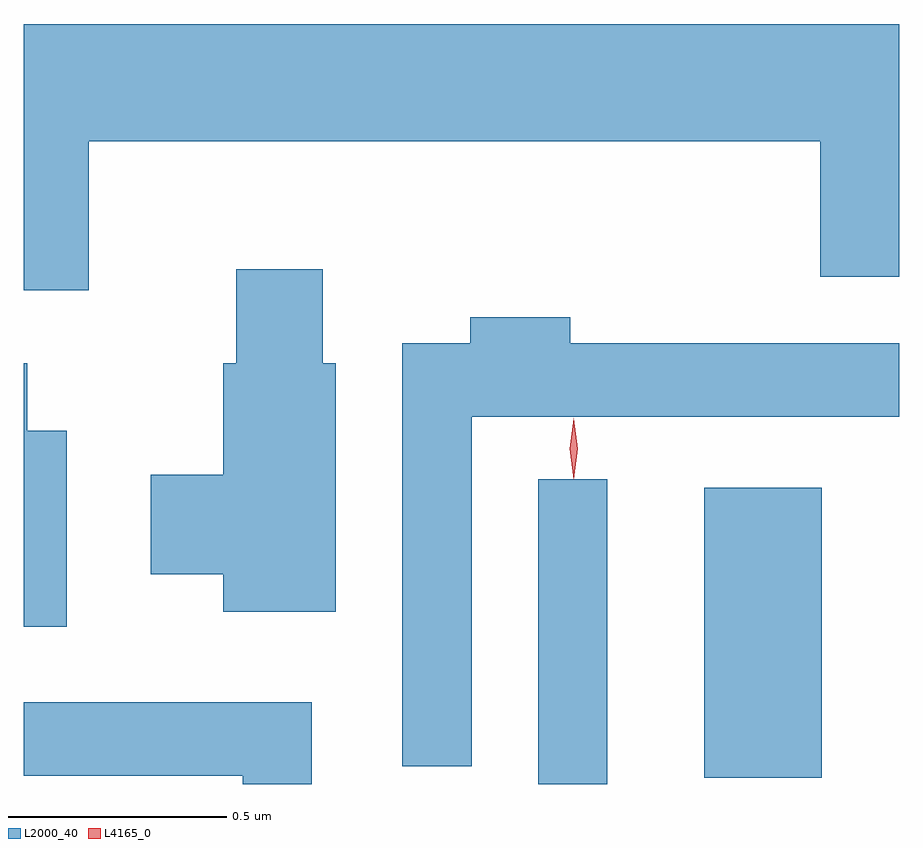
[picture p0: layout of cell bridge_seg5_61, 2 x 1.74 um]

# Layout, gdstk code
import gdstk
lib = gdstk.Library(unit=1e-6, precision=1e-09)
def R(c, l, rs):  # rectangles x0, y0, x1, y1
    for r in rs: c.add(gdstk.rectangle(r[:2], r[2:], *l))
def P(c, l, *ps):  # polygons
    for p in ps: c.add(gdstk.Polygon(p, *l))
L2000_40 = (2000, 40)
L4165_0 = (4165, 0)

bridge_seg5_61 = lib.new_cell('bridge_seg5_61')
R(bridge_seg5_61, L2000_40, [(1319.326,1466.427,1319.484,1467.123), (1319.706,1466.441,1319.974,1467.104)])
P(bridge_seg5_61, L2000_40, [(1318.299,1467.896),(1319.971,1467.896),(1319.971,1467.586),(1320.151,1467.586),(1320.151,1468.164),(1318.151,1468.164),(1318.151,1467.556),(1318.299,1467.556)],
  [(1318.864,1467.389),(1318.834,1467.389),(1318.834,1467.604),(1318.636,1467.604),(1318.636,1467.389),(1318.606,1467.389),(1318.606,1467.134),(1318.441,1467.134),(1318.441,1466.906),(1318.606,1466.906),(1318.606,1466.821),(1318.864,1466.821)],
  [(1319.174,1467.266),(1320.151,1467.266),(1320.151,1467.434),(1319.399,1467.434),(1319.399,1467.494),(1319.171,1467.494),(1319.171,1467.434),(1319.016,1467.434),(1319.016,1466.468),(1319.174,1466.468)],
  [(1318.249,1467.234),(1318.159,1467.234),(1318.159,1467.389),(1318.151,1467.389),(1318.151,1466.786),(1318.249,1466.786)],
  [(1318.809,1466.614),(1318.151,1466.614),(1318.151,1466.446),(1318.651,1466.446),(1318.651,1466.427),(1318.809,1466.427)])
P(bridge_seg5_61, L4165_0, [(1319.407,1467.123),(1319.407,1467.124),(1319.398,1467.193),(1319.407,1467.262),(1319.407,1467.263),(1319.408,1467.262),(1319.417,1467.193),(1319.408,1467.124)])

lib.write_gds('bridge_seg5_61.gds')
